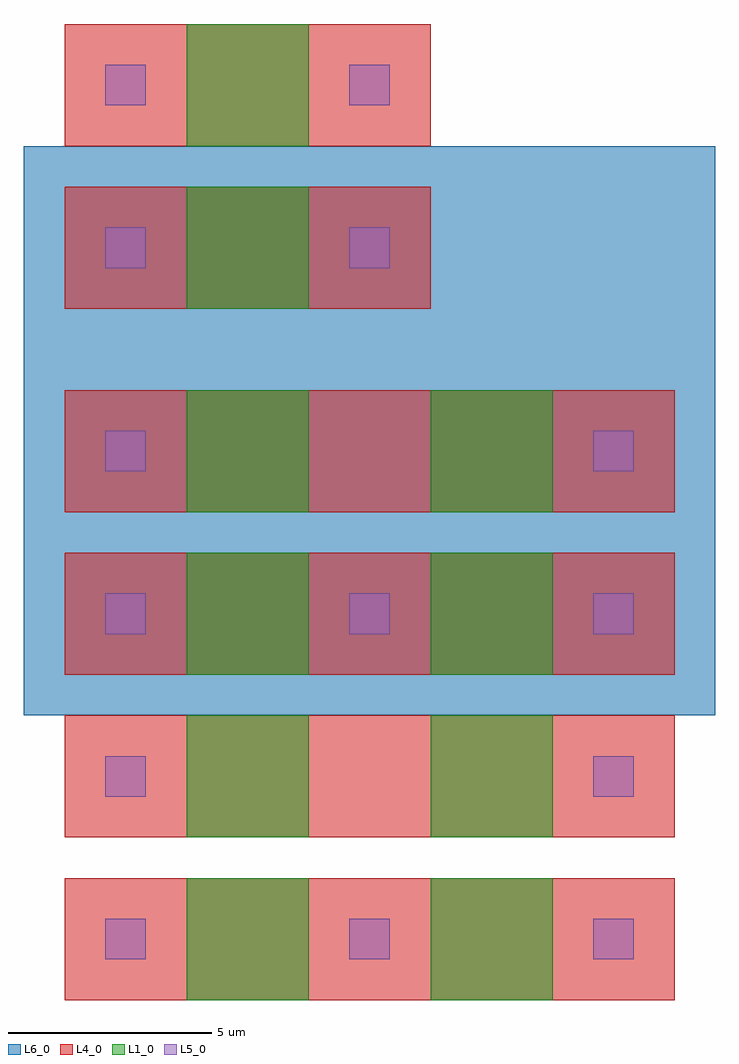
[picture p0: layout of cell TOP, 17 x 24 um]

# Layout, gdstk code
import gdstk
lib = gdstk.Library(unit=1e-6, precision=1e-06)
def R(c, l, rs):  # rectangles x0, y0, x1, y1
    for r in rs: c.add(gdstk.rectangle(r[:2], r[2:], *l))
def A(c, l, x, y, w, h, nx, ny, dx, dy):  # array of equal rectangles
    R(c, l, [(x+i*dx, y+j*dy, x+i*dx+w, y+j*dy+h) for i in range(nx) for j in range(ny)])
L1_0 = (1, 0)
L4_0 = (4, 0)
L5_0 = (5, 0)
L6_0 = (6, 0)

top = lib.new_cell('TOP')
A(top, L1_0, 13, 9, 3, 3, 1, 4, 0, 4)
A(top, L1_0, 19, 9, 3, 3, 1, 4, 0, 4)
R(top, L1_0, [(13,26,16,29), (13,30,16,33)])
A(top, L4_0, 10, 9, 15, 3, 1, 4, 0, 4)
R(top, L4_0, [(10,26,19,29), (10,30,19,33)])
A(top, L5_0, 11, 10, 1, 1, 3, 2, 6, 8)
R(top, L5_0, [(11,14,12,15), (23,14,24,15), (11,22,12,23), (23,22,24,23), (11,27,12,28), (17,27,18,28), (11,31,12,32), (17,31,18,32)])
R(top, L6_0, [(9,16,26,30)])

lib.write_gds('TOP.gds')
